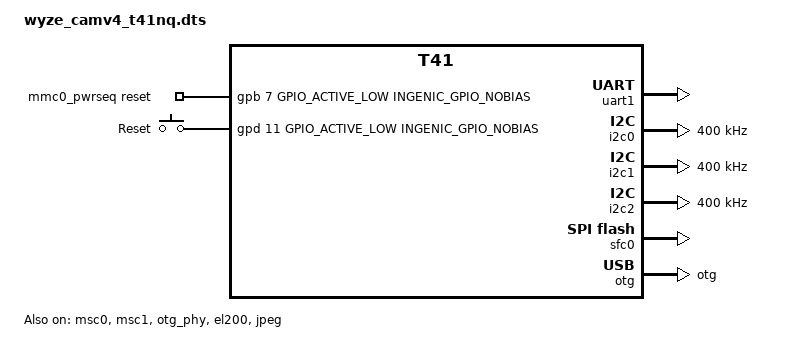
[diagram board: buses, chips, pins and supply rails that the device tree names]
/dts-v1/;

#include <dt-bindings/input/input.h>
#include "t41.dtsi"
#include <dt-bindings/interrupt-controller/irq.h>

/ {
	compatible = "wyze,camv4", "ingenic,t41";

	mmc0_pwrseq: mmc0_pwrseq {
		compatible = "mmc-pwrseq-simple";
		reset-gpios = <&gpb 7 GPIO_ACTIVE_LOW INGENIC_GPIO_NOBIAS>;  /* GPIO 39 = PB7 for SD card power */
	};

	/* WiFi power is always on - no pwrseq needed
	mmc1_pwrseq: mmc1_pwrseq {
		compatible = "mmc-pwrseq-simple";
		reset-gpios = <&gpc 14 GPIO_ACTIVE_HIGH INGENIC_GPIO_NOBIAS>;
	};
	*/
};

&uart0 {
	status = "disable";
	pinctrl-names = "default";
	pinctrl-0 = <&uart0_pc>;
};

&uart1 {
	status = "okay";
	pinctrl-names = "default";
	pinctrl-0 = <&uart1_pb>;
};

&uart2 {
	status = "disable";
	pinctrl-names = "default";
	pinctrl-0 = <&uart2_pd>;
};

&uart3 {
	status = "disable";
	pinctrl-names = "default";
	pinctrl-0 = <&uart3_pb>;
};

&uart4 {
	status = "disable";
	pinctrl-names = "default";
	pinctrl-0 = <&uart4_pb>;
};

&uart5 {
	status = "disable";
	pinctrl-names = "default";
	pinctrl-0 = <&uart5_pd>;
};

&i2c0 {
	pinctrl-0 = <&i2c0_pa>;
	pinctrl-names = "default";
	clock-frequency = <400000>;
	status = "okay";
};

&i2c1 {
	pinctrl-0 = <&i2c1_pb>;
	pinctrl-names = "default";
	clock-frequency = <400000>;
	status = "okay";
};

&i2c2 {
	pinctrl-0 = <&i2c2_pc>;
	pinctrl-names = "default";
	clock-frequency = <400000>;
	status = "okay";
};

&cpufreq {
	status = "okay";
	operating-points = <
		/*KHZ uV */
		1200000	900000
		1104000	900000
		1008000	900000
		912000	900000
		891000	900000
		750000	900000
		600000	900000
		500000	900000
		400000	900000
		375000	900000
		300000	900000
		200000	900000
			>;
};

&pdma {
	status = "okay";
};

/* SD Card - MMC0 on PB */
&msc0 {
	status = "okay";
	pinctrl-names = "default";
	cap-mmc-highspeed;
	max-frequency = <25000000>;
	bus-width = <4>;
	voltage-ranges = <1800 3300>;
	cd-inverted;

	/* special property */
	ingenic,wp-gpios = <0>;
	ingenic,cd-gpios = <&gpb 6 GPIO_ACTIVE_LOW INGENIC_GPIO_NOBIAS>;  /* GPIO 70 = PB6 */
	ingenic,rst-gpios = <0>;
	pinctrl-0 = <&msc0_pb>;
	mmc-pwrseq = <&mmc0_pwrseq>;
};

/* SDIO WiFi - MMC1 on PC */
&msc1 {
	status = "okay";
	pinctrl-names = "default";
	cap-sd-highspeed;
	cap-sdio-irq;
	max-frequency = <25000000>;  /* Reduced from 50MHz to 25MHz to match stock firmware - fixes SDIO errors in AP mode */
	bus-width = <4>;
	voltage-ranges = <1800 3300>;
	non-removable;
	keep-power-in-suspend;

	/* special property */
	ingenic,wp-gpios = <0>;
	ingenic,rst-gpios = <0>;
	ingenic,sdio_clk = <1>;  /* Enable SDIO clock for WiFi - required for manual card detection */
	pinctrl-0 = <&msc1_pc>;
	/* mmc-pwrseq = <&mmc1_pwrseq>; */  /* WiFi power is always on */
};

&sfc0 {
	status = "okay";
	pinctrl-names = "default";
	ingenic,sfc-max-frequency = <100000000>;
	ingenic,use_board_info      = /bits/ 8 <0>;
	ingenic,spiflash_param_offset = <0>;
	ingenic,spiflash_type = <0>;
	pinctrl-0 = <&sfc0_pa>;
};

&otg {
	g-use-dma;
	dr_mode = "otg";
	status = "okay";
};

&otg_phy {
	dr_mode = "otg";
	compatible = "ingenic,innophy", "syscon";
	ingenic,drvvbus-gpio = <0>;
	status = "okay";
};

/ {
	extclk: extclk {
		clock-frequency = <24000000>;
	};

	gpio_keys: gpio_keys {
		compatible = "gpio-keys";

		reset {
			label = "Reset";
			linux,code = <KEY_RESTART>;
			gpios = <&gpd 11 GPIO_ACTIVE_LOW INGENIC_GPIO_NOBIAS>;  /* GPIO 107 = PD11 */
			gpio-key,wakeup;
		};
	};
};

&el200 {
	status = "okay";
};

&jpeg {
	status = "okay";
};

&dpu {
	status = "disable";
};

